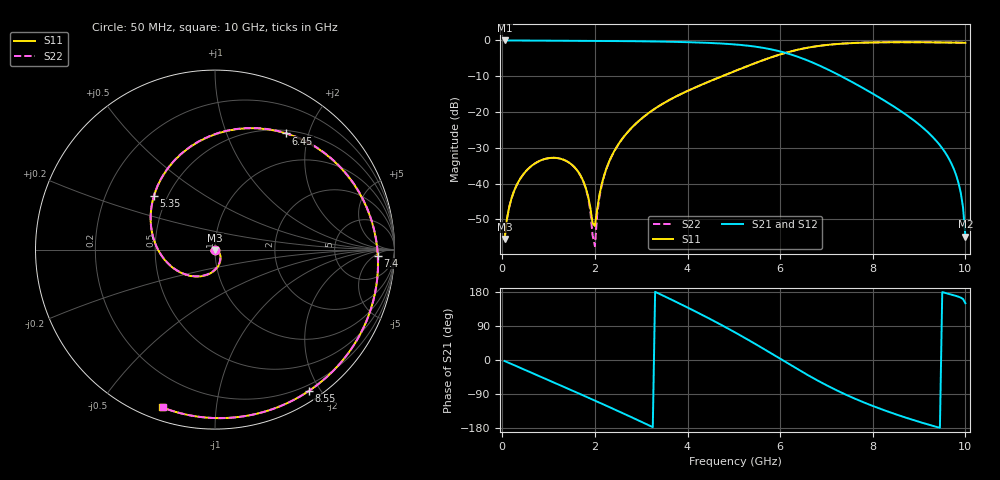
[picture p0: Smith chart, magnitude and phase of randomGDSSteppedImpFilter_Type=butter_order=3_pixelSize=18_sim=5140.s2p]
! freq	dB(S11)	phase(S11)	dB(S12)	phase(S12)
!  dB(S21)	phase(S21)	dB(S22)	phase(S22)
!S-par simulation data
#  GHz  S  DB  R 50
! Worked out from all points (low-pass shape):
!   200 points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, 50 MHz to 10 GHz, reference 50 ohm
!   highest |S21| = -0.01 dB at 50 MHz (marker M1); lowest = -54.8 dB at 10 GHz (marker M2)
!   |S21| within 3 dB of the highest: start of sweep to 5.979 GHz
!   lowest |S11| = -55.5 dB at 50 MHz (marker M3), VSWR 1.00, Z = 50 - j0.162 ohm
!   |S11| at or under -10 dB: start of sweep to 4.746 GHz
!   |S22| runs from -57.5 to -0.5 dB; largest |S21 - S12| = 0
!   S11 on the Smith chart (normalised r, x): 50 MHz: 1.00, -0.00; 5.35 GHz: 0.42, +0.32; 6.45 GHz: 0.54, +1.65; 7.4 GHz: 18, -7; 8.55 GHz: 0.13, -1.85; 10 GHz: 0.06, -0.72
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0.05  -55.47 -73.4  -0.01 -2.7  -0.01 -2.7  -55.47 -73.3
0.25  -42.22 -100.1  -0.02 -13.4  -0.02 -13.4  -42.21 -99.9
0.65  -34.87 -125.2  -0.05 -34.6  -0.05 -34.6  -34.87 -124.6
1.3  -33.22 -163.1  -0.09 -69.3  -0.09 -69.3  -33.22 -161.2
1.75  -39.35 165.4  -0.11 -93.6  -0.11 -93.6  -39.44 171.7
1.85  -43.39 152.3  -0.12 -99.0  -0.12 -99.0  -43.72 163.4
2  -51.85 50.6  -0.13 -107.1  -0.13 -107.1  -57.49 30.7
2.1  -43.03 -2.8  -0.13 -112.6  -0.13 -112.6  -43.57 -15.8
2.35  -32.63 -30.3  -0.15 -126.4  -0.15 -126.4  -32.70 -34.9
3.4  -18.20 -95.0  -0.31 174.2  -0.31 174.2  -18.20 -96.3
4.3  -12.39 -150.3  -0.61 120.0  -0.61 120.0  -12.39 -150.9
5.05  -8.42 159.9  -1.15 71.2  -1.15 71.2  -8.42 159.9
5.35  -6.89 138.8  -1.54 50.4  -1.54 50.4  -6.89 138.9
5.85  -4.53 102.4  -2.61 14.3  -2.61 14.3  -4.53 102.7
6.45  -2.40 58.5  -4.89 -29.5  -4.89 -29.5  -2.39 58.9
6.7  -1.79 41.1  -6.17 -46.9  -6.17 -46.9  -1.79 41.6
7.4  -0.84 -2.1  -10.55 -90.4  -10.55 -90.4  -0.84 -1.7
8.35  -0.50 -48.2  -17.60 -137.1  -17.60 -137.1  -0.50 -47.9
8.55  -0.49 -56.5  -19.26 -145.5  -19.26 -145.5  -0.49 -56.2
9.65  -0.58 -97.0  -33.18 174.2  -33.18 174.2  -0.58 -96.6
9.9  -0.64 -105.4  -42.58 164.5  -42.58 164.5  -0.64 -105.1
10  -0.66 -108.7  -54.81 149.7  -54.81 149.7  -0.66 -108.4
